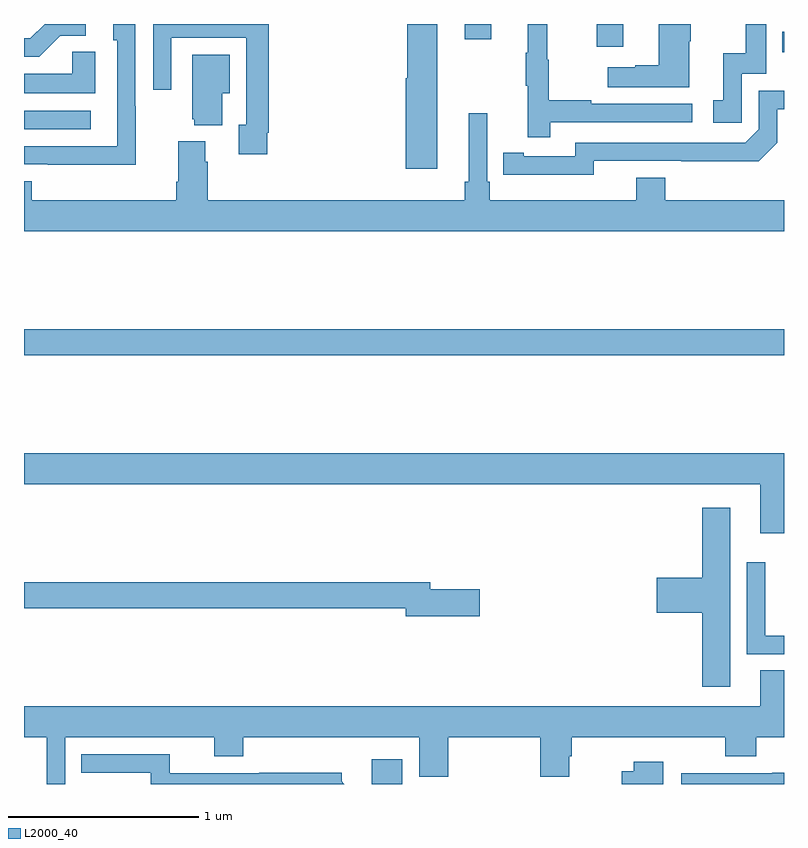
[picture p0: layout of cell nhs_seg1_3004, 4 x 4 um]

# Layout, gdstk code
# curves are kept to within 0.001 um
import gdstk
lib = gdstk.Library(unit=1e-6, precision=1e-09)
def R(c, l, rs):  # rectangles x0, y0, x1, y1
    for r in rs: c.add(gdstk.rectangle(r[:2], r[2:], *l))
def P(c, l, *ps):  # polygons
    for p in ps: c.add(gdstk.Polygon(p, *l))
L2000_40 = (2000, 40)

nhs_seg1_3004 = lib.new_cell('nhs_seg1_3004')
R(nhs_seg1_3004, L2000_40, [(276.829,506.199,276.99,506.329), (275,508.456,279,508.592), (275,509.646,275.35,509.742), (278.992,510.051,279,510.157), (278.015,510.078,278.155,510.199), (277.319,510.12,277.459,510.199)])
P(nhs_seg1_3004, L2000_40, [(275.589,509.765),(275.586,509.765),(275.586,510.199),(275.471,510.199),(275.471,510.114),(275.49,510.114),(275.49,509.556),(275,509.556),(275,509.46),(275.125,509.46),(275.125,509.459),(275.589,509.459)],
  [(275.191,510.138),(275.326,510.138),(275.326,510.199),(275.11,510.199),(275.034,510.123),(275,510.123),(275,510.027),(275.08,510.027)],
  [(278.5,510.107),(278.508,510.107),(278.508,510.199),(278.342,510.199),(278.342,509.981),(278.216,509.981),(278.216,509.971),(278.073,509.971),(278.073,509.867),(278.5,509.867)],
  [(277.174,510.199),(277.016,510.199),(277.016,509.913),(277.01,509.913),(277.01,509.436),(277.174,509.436)],
  [(277.769,509.682),(278.518,509.682),(278.518,509.778),(277.985,509.778),(277.985,509.798),(277.762,509.798),(277.762,510.012),(277.754,510.012),(277.754,510.199),(277.652,510.199),(277.652,510.049),(277.641,510.049),(277.641,509.875),(277.652,509.875),(277.652,509.604),(277.769,509.604)],
  [(276.28,509.626),(276.287,509.626),(276.287,510.199),(275.679,510.199),(275.679,509.853),(275.775,509.853),(275.775,510.126),(276.171,510.126),(276.171,509.67),(276.131,509.67),(276.131,509.514),(276.28,509.514)],
  [(278.778,509.937),(278.907,509.937),(278.907,510.199),(278.799,510.199),(278.799,510.046),(278.681,510.046),(278.681,509.799),(278.628,509.799),(278.628,509.679),(278.778,509.679)],
  [(275.374,510.053),(275.253,510.053),(275.253,509.938),(275,509.938),(275,509.834),(275.374,509.834)],
  [(276.043,509.834),(276.082,509.834),(276.082,510.037),(275.885,510.037),(275.885,509.697),(275.897,509.697),(275.897,509.666),(276.043,509.666)],
  [(277.998,509.478),(278.866,509.477),(278.964,509.574),(278.964,509.751),(279,509.751),(279,509.847),(278.868,509.847),(278.868,509.646),(278.796,509.574),(277.902,509.574),(277.902,509.502),(277.63,509.502),(277.63,509.522),(277.522,509.522),(277.522,509.406),(277.998,509.405)],
  [(279,509.272),(278.375,509.272),(278.375,509.389),(278.222,509.389),(278.222,509.272),(277.451,509.272),(277.451,509.368),(277.437,509.368),(277.437,509.728),(277.34,509.728),(277.34,509.368),(277.321,509.368),(277.321,509.272),(275.966,509.272),(275.966,509.474),(275.953,509.474),(275.953,509.581),(275.813,509.581),(275.813,509.368),(275.801,509.368),(275.801,509.272),(275.042,509.272),(275.042,509.371),(275,509.371),(275,509.108),(279,509.108)],
  [(279,507.94),(275,507.94),(275,507.776),(278.876,507.776),(278.876,507.519),(279,507.519)],
  [(278.716,507.652),(278.57,507.652),(278.57,507.284),(278.331,507.284),(278.331,507.101),(278.57,507.101),(278.57,506.712),(278.716,506.712)],
  [(279,506.979),(278.901,506.979),(278.901,507.367),(278.805,507.367),(278.805,506.883),(279,506.883)],
  [(277.399,507.224),(277.138,507.224),(277.138,507.26),(275,507.26),(275,507.124),(277.01,507.124),(277.01,507.082),(277.399,507.082)],
  [(275.217,506.444),(276.002,506.444),(276.002,506.345),(276.155,506.345),(276.155,506.444),(277.079,506.444),(277.079,506.236),(277.232,506.236),(277.232,506.444),(277.718,506.444),(277.718,506.236),(277.87,506.236),(277.87,506.346),(277.883,506.346),(277.883,506.444),(278.69,506.444),(278.69,506.345),(278.855,506.345),(278.855,506.444),(279,506.444),(279,506.798),(278.876,506.798),(278.876,506.608),(275,506.608),(275,506.444),(275.12,506.444),(275.12,506.199),(275.217,506.199)],
  [(276.672,506.213),(276.672,506.258),(276.238,506.258),(276.238,506.256),(275.766,506.256),(275.766,506.355),(275.302,506.355),(275.302,506.259),(275.666,506.259),(275.666,506.199),(276.686,506.199)],
  [(278.365,506.317),(278.209,506.317),(278.209,506.265),(278.146,506.265),(278.146,506.199),(278.365,506.199)],
  [(279,506.258),(278.938,506.258),(278.938,506.256),(278.46,506.256),(278.46,506.199),(279,506.199)])

lib.write_gds('nhs_seg1_3004.gds')
